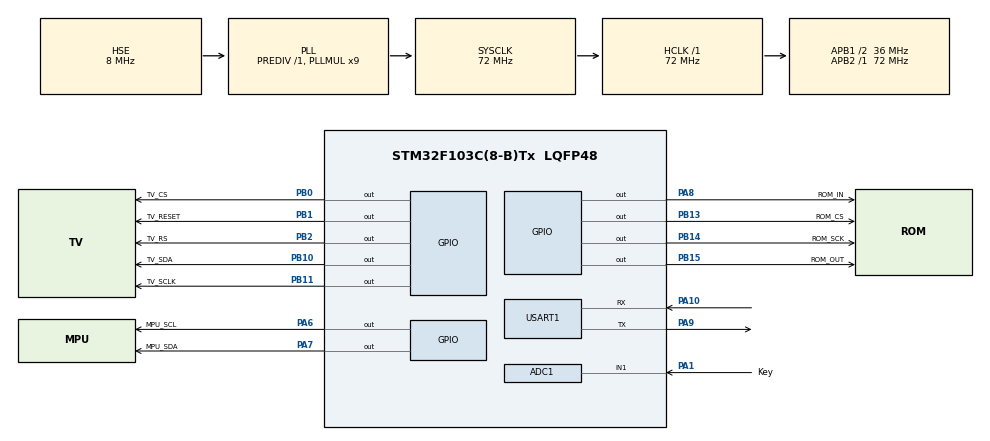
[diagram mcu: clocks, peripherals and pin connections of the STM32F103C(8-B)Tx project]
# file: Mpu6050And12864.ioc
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ADC1.Channel-1\#ChannelRegularConversion=ADC_CHANNEL_1
ADC1.ContinuousConvMode=ENABLE
ADC1.EnableInjectedConversion=DISABLE
ADC1.InjNumberOfConversion=0
ADC1.NbrOfConversionFlag=1
ADC1.Rank-1\#ChannelRegularConversion=1
ADC1.SamplingTime-1\#ChannelRegularConversion=ADC_SAMPLETIME_41CYCLES_5
ADC1.master=1
Mcu.Family=STM32F1
Mcu.Name=STM32F103C(8-B)Tx
Mcu.Package=LQFP48
NVIC.PriorityGroup=NVIC_PRIORITYGROUP_4
NVIC.RTC_IRQn=true\:0\:0\:false\:false\:true\:true\:true\:true
PA1.GPIO_Label=Key
PA1.Signal=ADCx_IN1
PA10.Mode=Asynchronous
PA10.Signal=USART1_RX
PA13.Mode=Serial_Wire
PA13.Signal=SYS_JTMS-SWDIO
PA14.Mode=Serial_Wire
PA14.Signal=SYS_JTCK-SWCLK
PA6.GPIO_Label=MPU_SCL
PA6.GPIO_ModeDefaultOutputPP=GPIO_MODE_OUTPUT_PP
PA6.GPIO_Speed=GPIO_SPEED_FREQ_HIGH
PA6.PinState=GPIO_PIN_SET
PA6.Signal=GPIO_Output
PA7.GPIO_Label=MPU_SDA
PA7.GPIO_ModeDefaultOutputPP=GPIO_MODE_OUTPUT_PP
PA7.GPIO_Speed=GPIO_SPEED_FREQ_HIGH
PA7.PinState=GPIO_PIN_SET
PA7.Signal=GPIO_Output
PA8.GPIO_Label=ROM_IN
PA8.GPIO_Speed=GPIO_SPEED_FREQ_HIGH
PA8.PinState=GPIO_PIN_SET
PA8.Signal=GPIO_Output
PA9.Mode=Asynchronous
PA9.Signal=USART1_TX
PB0.GPIO_Label=TV_CS
PB0.GPIO_Speed=GPIO_SPEED_FREQ_HIGH
PB0.PinState=GPIO_PIN_SET
PB0.Signal=GPIO_Output
PB1.GPIO_Label=TV_RESET
PB1.GPIO_Speed=GPIO_SPEED_FREQ_HIGH
PB1.PinState=GPIO_PIN_SET
PB1.Signal=GPIO_Output
PB10.GPIO_Label=TV_SDA
PB10.GPIO_Speed=GPIO_SPEED_FREQ_HIGH
PB10.PinState=GPIO_PIN_SET
PB10.Signal=GPIO_Output
PB11.GPIO_Label=TV_SCLK
PB11.GPIO_Speed=GPIO_SPEED_FREQ_HIGH
PB11.PinState=GPIO_PIN_SET
PB11.Signal=GPIO_Output
PB13.GPIO_Label=ROM_CS
PB13.GPIO_Speed=GPIO_SPEED_FREQ_HIGH
PB13.PinState=GPIO_PIN_SET
PB13.Signal=GPIO_Output
PB14.GPIO_Label=ROM_SCK
PB14.GPIO_Speed=GPIO_SPEED_FREQ_HIGH
PB14.PinState=GPIO_PIN_SET
PB14.Signal=GPIO_Output
PB15.GPIO_Label=ROM_OUT
PB15.GPIO_Speed=GPIO_SPEED_FREQ_HIGH
PB15.PinState=GPIO_PIN_SET
PB15.Signal=GPIO_Output
PB2.GPIO_Label=TV_RS
PB2.GPIO_Speed=GPIO_SPEED_FREQ_HIGH
PB2.PinState=GPIO_PIN_SET
PB2.Signal=GPIO_Output
PC14-OSC32_IN.Mode=LSE-External-Oscillator
PC14-OSC32_IN.Signal=RCC_OSC32_IN
PC15-OSC32_OUT.Mode=LSE-External-Oscillator
PC15-OSC32_OUT.Signal=RCC_OSC32_OUT
PD0-OSC_IN.Mode=HSE-External-Oscillator
PD0-OSC_IN.Signal=RCC_OSC_IN
PD1-OSC_OUT.Mode=HSE-External-Oscillator
PD1-OSC_OUT.Signal=RCC_OSC_OUT
ProjectManager.HeapSize=0x200
ProjectManager.StackSize=0x400
ProjectManager.TargetToolchain=STM32CubeIDE
RCC.ADCPresc=RCC_ADCPCLK2_DIV8
RCC.AHBFreq_Value=72000000
RCC.APB1CLKDivider=RCC_HCLK_DIV2
RCC.APB1Freq_Value=36000000
RCC.APB1TimFreq_Value=72000000
RCC.APB2Freq_Value=72000000
RCC.APB2TimFreq_Value=72000000
RCC.HCLKFreq_Value=72000000
RCC.PLLMUL=RCC_PLL_MUL9
RCC.PLLSourceVirtual=RCC_PLLSOURCE_HSE
RCC.RTCClockSelection=RCC_RTCCLKSOURCE_LSE
RCC.SYSCLKFreq_VALUE=72000000
RCC.SYSCLKSource=RCC_SYSCLKSOURCE_PLLCLK
RCC.USBFreq_Value=72000000
RTC.AutoPrediv=RTC_AUTO_1_SECOND
RTC.Date=25
RTC.Hours=20
RTC.Month=RTC_MONTH_FEBRUARY
RTC.OutPut=RTC_OUTPUTSOURCE_NONE
RTC.Seconds=55
RTC.WeekDay=RTC_WEEKDAY_SUNDAY
RTC.Year=24
SH.ADCx_IN1.0=ADC1_IN1,IN1
USART1.VirtualMode=VM_ASYNC
VP_RTC_No_RTC_Output.Mode=RTC_OUT_NO
VP_RTC_VS_RTC_Activate.Mode=RTC_Enabled
VP_RTC_VS_RTC_Calendar.Mode=RTC_Calendar
board=custom

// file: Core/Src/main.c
/* USER CODE BEGIN Header */
/**
  ******************************************************************************
  * @file           : main.c
  * @brief          : Main program body
  ******************************************************************************
  * @attention
  *
  * Copyright (c) 2024 STMicroelectronics.
  * All rights reserved.
  *
  * This software is licensed under terms that can be found in the LICENSE file
  * in the root directory of this software component.
  * If no LICENSE file comes with this software, it is provided AS-IS.
  *
  ******************************************************************************
  */
/* USER CODE END Header */
#include "main.h"
#include "adc.h"
#include "rtc.h"
#include "usart.h"
#include "gpio.h"

/* USER CODE BEGIN Includes */
#include <stdio.h>
#include "mpu6050.h"
#include "inv_mpu.h"
#include "LCD12864.h"
#include <string.h>
/* USER CODE END Includes */

/* USER CODE BEGIN PTD */
#define FILTER_CNT			4

typedef struct {
  short x;
  short y;
  short z;
}axis_info_t;

typedef struct filter_avg{
	axis_info_t info[FILTER_CNT];
	unsigned char count;
}filter_avg_t;

#define MAX(a,b) ((a) > (b) ? (a) : (b))
#define MIN(a,b) ((a) < (b) ? (a) : (b))
#define SAMPLE_SIZE   50

typedef struct {
	axis_info_t newmax;
	axis_info_t newmin;
	axis_info_t oldmax;
	axis_info_t oldmin;
}peak_value_t;

#define ABS(a) (0 - (a)) > 0 ? (-(a)) : (a)
#define DYNAMIC_PRECISION     			30     	 /*动�?精度*/

/*一个线性移�?寄存器，用于过滤高频噪声*/
typedef struct slid_reg{
	axis_info_t new_sample;
	axis_info_t old_sample;
}slid_reg_t;

#define MOST_ACTIVE_NULL      			0      	 /*未找到最活跃轴*/
#define MOST_ACTIVE_X					1		 /*最活跃轴X*/
#define MOST_ACTIVE_Y					2        /*最活跃轴Y*/
#define MOST_ACTIVE_Z					3        /*最活跃轴Z*/

#define ACTIVE_PRECISION      			60       /*活跃轴最�?�?�化值*/

static void filter_calculate(filter_avg_t *filter, axis_info_t *sample);
static void peak_update(peak_value_t *peak, axis_info_t *cur_sample);
static char slid_update(slid_reg_t *slid, axis_info_t *cur_sample);
static void detect_step(peak_value_t *peak, slid_reg_t *slid, axis_info_t *cur_sample);

static long int step_cnt = 0;

filter_avg_t filter;
axis_info_t sample;
peak_value_t peak;
slid_reg_t slid;
/* USER CODE END PTD */

void SystemClock_Config(void);

int main(void)
{
  /* USER CODE BEGIN 1 */
	char PitchData[17] = {0};
	char  RollData[17] = {0};
	char   YawData[17] = {0};
	char CurrentTime[17] = {0};
	char Step[17] = {0};
	float pitch = 0, roll = 0,yaw = 0;
	uint8_t page = 0;

	RTC_DateTypeDef RtcDate;
	RTC_TimeTypeDef RtcTime;

  /* USER CODE END 1 */

  /* MCU Configuration--------------------------------------------------------*/

  /* Reset of all peripherals, Initializes the Flash interface and the Systick. */
  HAL_Init();

  /* Configure the system clock */
  SystemClock_Config();

  /* Initialize all configured peripherals */
  MX_GPIO_Init();
  MX_ADC1_Init();
  MX_RTC_Init();
  MX_USART1_UART_Init();
  /* USER CODE BEGIN 2 */
  HAL_ADC_Start(&hadc1);
  MPU_Init();

  while(mpu_dmp_init())
  {
	  HAL_msDelay(200);
	  printf("mpu6050 error\r\n");
  };
  HAL_msDelay(200);
  initial_lcd();

  HAL_msDelay(200);
  clear_screen();
  /* USER CODE END 2 */

  /* Infinite loop */
  /* USER CODE BEGIN WHILE */

  while (1)
  {
//	  clear_screen(); //clear all dots
//	  display_128x64(bmp1);
//	  HAL_msDelay(4000);

	  if(HAL_ADC_GetValue(&hadc1) < 200)
	  {
		  HAL_msDelay(100);
		  if(HAL_ADC_GetValue(&hadc1) < 200)
		  {
			  page = 1;
			  clear_screen();
		  }
	  }
	  else if(HAL_ADC_GetValue(&hadc1) > 4000)
	  {
		  HAL_msDelay(100);
		  if(HAL_ADC_GetValue(&hadc1) > 4000)
		  {
			  page = 0;
			  clear_screen();
		  }
	  }

	  HAL_RTC_GetTime(&hrtc, &RtcTime, RTC_FORMAT_BCD);
	  HAL_RTC_GetDate(&hrtc, &RtcDate, RTC_FORMAT_BCD);

	  switch(page)
	  {
		  case 1:
			  if(mpu_dmp_get_data(&pitch,&roll,&yaw) == 0)
			  {
				  sprintf(PitchData,"PitchData:%5.2lf",pitch);
				  sprintf(RollData, "Roll Data:%5.1lf",roll);
				  sprintf(YawData,  "Yaw  Data:%5.1lf",yaw);
				  display_GB2312_string(1,1,(uchar *)"MPU6050 Data:---");
				  display_GB2312_string(3,1,(uchar *)PitchData);
				  display_GB2312_string(5,1,(uchar *)RollData);
				  display_GB2312_string(7,1,(uchar *)YawData);
//				  printf("%lf %lf %lf\r\n",pitch,roll,yaw);
				  memset(PitchData,0,sizeof(PitchData));
				  memset(RollData,0,sizeof(RollData));
				  memset(YawData,0,sizeof(YawData));
			  }
			  break;
		  case 0:
			  sprintf(Step,        "           %5ld",step_cnt);
			  sprintf(CurrentTime, " %2x-%2x  %2x:%2x:%2x",RtcDate.Month,RtcDate.Date,RtcTime.Hours,RtcTime.Minutes,RtcTime.Seconds);

			  display_GB2312_string(1,1,(uchar *)"CurrentTime:----");
			  display_GB2312_string(3,1,(uchar *)CurrentTime);
			  display_GB2312_string(5,1,(uchar *)"       Step:----");
			  display_GB2312_string(7,1,(uchar *)Step);
//			  printf("data : %d\r\n",RtcDate.Date);
	  }

	  filter_calculate(&filter, &sample);
	  peak_update(&peak, &sample);
	  slid_update(&slid, &sample);
	  detect_step(&peak, &slid, &sample);
//	  printf("%d %d %d %d\r\n",filter.count,filter.info[0].x,filter.info[0].y,filter.info[0].z);

    /* USER CODE END WHILE */

  }
}

void SystemClock_Config(void)
{
  RCC_OscInitTypeDef RCC_OscInitStruct = {0};
  RCC_ClkInitTypeDef RCC_ClkInitStruct = {0};
  RCC_PeriphCLKInitTypeDef PeriphClkInit = {0};

  /** Initializes the RCC Oscillators according to the specified parameters
  * in the RCC_OscInitTypeDef structure.
  */
  RCC_OscInitStruct.OscillatorType = RCC_OSCILLATORTYPE_HSE|RCC_OSCILLATORTYPE_LSE;
  RCC_OscInitStruct.HSEState = RCC_HSE_ON;
  RCC_OscInitStruct.HSEPredivValue = RCC_HSE_PREDIV_DIV1;
  RCC_OscInitStruct.LSEState = RCC_LSE_ON;
  RCC_OscInitStruct.HSIState = RCC_HSI_ON;
  RCC_OscInitStruct.PLL.PLLState = RCC_PLL_ON;
  RCC_OscInitStruct.PLL.PLLSource = RCC_PLLSOURCE_HSE;
  RCC_OscInitStruct.PLL.PLLMUL = RCC_PLL_MUL9;
  if (HAL_RCC_OscConfig(&RCC_OscInitStruct) != HAL_OK)
  {
    Error_Handler();
  }

  /** Initializes the CPU, AHB and APB buses clocks
  */
  RCC_ClkInitStruct.ClockType = RCC_CLOCKTYPE_HCLK|RCC_CLOCKTYPE_SYSCLK
                              |RCC_CLOCKTYPE_PCLK1|RCC_CLOCKTYPE_PCLK2;
  RCC_ClkInitStruct.SYSCLKSource = RCC_SYSCLKSOURCE_PLLCLK;
  RCC_ClkInitStruct.AHBCLKDivider = RCC_SYSCLK_DIV1;
  RCC_ClkInitStruct.APB1CLKDivider = RCC_HCLK_DIV2;
  RCC_ClkInitStruct.APB2CLKDivider = RCC_HCLK_DIV1;

  if (HAL_RCC_ClockConfig(&RCC_ClkInitStruct, FLASH_LATENCY_2) != HAL_OK)
  {
    Error_Handler();
  }
  PeriphClkInit.PeriphClockSelection = RCC_PERIPHCLK_RTC|RCC_PERIPHCLK_ADC;
  PeriphClkInit.RTCClockSelection = RCC_RTCCLKSOURCE_LSE;
  PeriphClkInit.AdcClockSelection = RCC_ADCPCLK2_DIV8;
  if (HAL_RCCEx_PeriphCLKConfig(&PeriphClkInit) != HAL_OK)
  {
    Error_Handler();
  }
}

/* USER CODE BEGIN 4 */

//读�?�xyz数�?�存入�?�值滤波器，存满进行计算，滤波�?�样本存入sample,如何读�?�存满就�?多说了。
static void filter_calculate(filter_avg_t *filter, axis_info_t *sample)
{
	unsigned int i = 0;
	unsigned char j = 0;
	short x_sum = 0, y_sum = 0, z_sum = 0;
	filter->count = FILTER_CNT;
	for (i = 0; i < FILTER_CNT; i++) {
		while(MPU_Get_Accelerometer(&filter->info[i].x,&filter->info[i].y,&filter->info[i].z))
		{
			HAL_usDelay(100);
			j++;
			if(j > 20)
				break;
		}
		x_sum += filter->info[i].x;
		y_sum += filter->info[i].y;
		z_sum += filter->info[i].z;
	}
	sample->x = x_sum / FILTER_CNT;
	sample->y = y_sum / FILTER_CNT;
	sample->z = z_sum / FILTER_CNT;
}

//static void peak_value_init(peak_value_t *peak)
//{
//	short x,y,z;
//
//	x = peak->newmax.x;
//	y = peak->newmax.y;
//	z = peak->newmax.z;
//
//	peak->newmax.x = peak->newmin.x;
//	peak->newmax.y = peak->newmin.y;
//	peak->newmax.z = peak->newmin.z;
//
//	peak->newmin.x = x;
//	peak->newmin.y = y;
//	peak->newmin.z = z;
//}

//在动�?阈值结构体�?始化时，一定�?将max的值都赋值为最�?值，min赋值为最大值，这样�?有利于动�?更新。
static void peak_update(peak_value_t *peak, axis_info_t *cur_sample)
{
  	static unsigned int sample_size = 0;
    sample_size ++;
	if (sample_size > SAMPLE_SIZE) {
		/*采样达到50个，更新一次*/
		sample_size = 1;
		peak->oldmax = peak->newmax;
		peak->oldmin = peak->newmin;
      	//�?始化
//      	peak_value_init(peak);
	}
	peak->newmax.x = MAX(peak->newmax.x, cur_sample->x);
	peak->newmax.y = MAX(peak->newmax.y, cur_sample->y);
	peak->newmax.z = MAX(peak->newmax.z, cur_sample->z);

	peak->newmin.x = MIN(peak->newmin.x, cur_sample->x);
	peak->newmin.y = MIN(peak->newmin.y, cur_sample->y);
	peak->newmin.z = MIN(peak->newmin.z, cur_sample->z);
}

static char slid_update(slid_reg_t *slid, axis_info_t *cur_sample)
{
  	char res = 0;
  	if (ABS((cur_sample->x - slid->new_sample.x)) > DYNAMIC_PRECISION) {
		slid->old_sample.x = slid->new_sample.x;
		slid->new_sample.x = cur_sample->x;
		res = 1;
	} else {
		slid->old_sample.x = slid->new_sample.x;
	}
	if (ABS((cur_sample->y - slid->new_sample.y)) > DYNAMIC_PRECISION) {
		slid->old_sample.y = slid->new_sample.y;
		slid->new_sample.y = cur_sample->y;
		res = 1;
	} else {
		slid->old_sample.y = slid->new_sample.y;
	}

	if (ABS((cur_sample->z - slid->new_sample.z)) > DYNAMIC_PRECISION) {
		slid->old_sample.z = slid->new_sample.z;
		slid->new_sample.z = cur_sample->z;
		res = 1;
	} else {
		slid->old_sample.z = slid->new_sample.z;
	}
	return res;
}

/*判断当�?最活跃轴*/
static char is_most_active(peak_value_t *peak)
{
	char res = MOST_ACTIVE_NULL;
	short x_change = ABS((peak->newmax.x - peak->newmin.x));
	short y_change = ABS((peak->newmax.y - peak->newmin.y));
	short z_change = ABS((peak->newmax.z - peak->newmin.z));

	if (x_change > y_change && x_change > z_change && x_change >= ACTIVE_PRECISION) {
		res = MOST_ACTIVE_X;
	} else if (y_change > x_change && y_change > z_change && y_change >= ACTIVE_PRECISION) {
		res = MOST_ACTIVE_Y;
	} else if (z_change > x_change && z_change > y_change && z_change >= ACTIVE_PRECISION) {
		res = MOST_ACTIVE_Z;
	}
	return res;
}

/*判断是�?�走步*/
static void detect_step(peak_value_t *peak, slid_reg_t *slid, axis_info_t *cur_sample)
{
	char res = is_most_active(peak);
	switch (res) {
		case MOST_ACTIVE_NULL: {
			//fix
			break;
		}
		case MOST_ACTIVE_X: {
			short threshold_x = (peak->oldmax.x + peak->oldmin.x) / 2;
			if (slid->old_sample.x > threshold_x && slid->new_sample.x < threshold_x) {
				step_cnt ++;
			}
			break;
		}
		case MOST_ACTIVE_Y: {
			short threshold_y = (peak->oldmax.y + peak->oldmin.y) / 2;
			if (slid->old_sample.y > threshold_y && slid->new_sample.y < threshold_y) {
				step_cnt ++;
			}
			break;
		}
		case MOST_ACTIVE_Z: {
			short threshold_z = (peak->oldmax.z + peak->oldmin.z) / 2;
			if (slid->old_sample.z > threshold_z && slid->new_sample.z < threshold_z) {
				step_cnt ++;
			}
			break;
		}
		default:
			break;
	}
}

void HAL_usDelay(uint32_t udelay)
{
  uint32_t startval,tickn,delays,wait;

  startval = SysTick->VAL;
  tickn = HAL_GetTick();

  delays =udelay * 72;
  if(delays > startval)
  {
    while(HAL_GetTick() == tickn);
    wait = 72000 + startval - delays;
    while(wait < SysTick->VAL);
  }
  else
  {
    wait = startval - delays;
    while(wait < SysTick->VAL && HAL_GetTick() == tickn);
  }
}

void HAL_msDelay(uint32_t udelay)
{
	uint16_t i = 0;
	for(i = 0;i < udelay;i++)
	{
		HAL_usDelay(1000);
	}
}
/* USER CODE END 4 */

void Error_Handler(void)
{
  __disable_irq();
  while (1)
  {
  }
}
